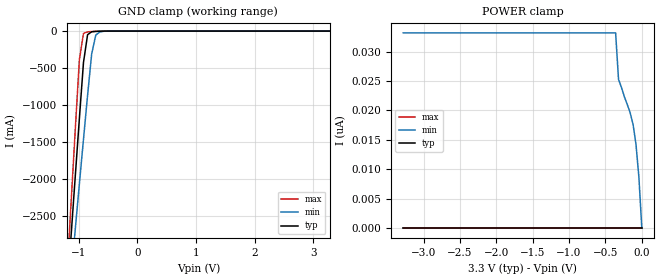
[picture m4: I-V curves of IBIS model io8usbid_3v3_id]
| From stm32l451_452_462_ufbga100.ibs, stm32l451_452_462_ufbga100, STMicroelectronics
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|   Model io8usbid_3v3_id
[Model]  io8usbid_3v3_id
Model_type Input
Polarity   Non-Inverting
Vinl =   0.540000V
Vinh =   1.260000V
C_comp   2.116400pF   2.092900pF   2.152900pF
[Temperature Range]   25.000000   0.125000k   -40.000000
[Pullup Reference]   3.300000V   2.700000V   3.600000V
[Pulldown Reference]   0.0V   0.0V   0.0V
[POWER Clamp Reference]   3.300000V   2.700000V   3.600000V
[GND Clamp Reference]   0.0V   0.0V   0.0V
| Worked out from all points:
|   GND clamp passes 1 mA (typ) near -0.59 V on its own axis
[GND_clamp]
|Voltage   I(typ)   I(min)   I(max)
-3.3V     -9.914A    -9.595A    -9.188A
-1.2V     -3.541A    -3.911A    -3.279A
-1.13V    -2.75A     -3.295A    -2.301A
-1.06V    -1.963A    -2.68A     -1.33A
-990mV    -1.183A    -2.069A    -386.7mA
-920mV    -424.7mA   -1.463A    -31.42mA
-850mV    -49.12mA   -868.7mA   -10.48mA
-780mV    -9.121mA   -308.3mA   -6.715mA
-710mV    -3.648mA   -53.81mA   -3.986mA
-640mV    -1.726mA   -11.03mA   -1.885mA
-430mV    -22.46uA   -116.8uA   -9.748uA
3.28V     0A         0A         0A
[POWER_clamp]
|Voltage   I(typ)   I(min)   I(max)
-3.28V    0A         33.18nA    0A
-360mV    0A         33.18nA    0A
-320mV    0A         25.29nA    0A
-280mV    0A         23.92nA    0A
-240mV    0A         22.34nA    0A
-200mV    0A         21.02nA    0A
-160mV    0A         19.6nA     0A
-120mV    0A         17.61nA    0A
-80mV     0A         14.24nA    0A
-40mV     0A         8.614nA    0A
0V        0A         0A         0A
